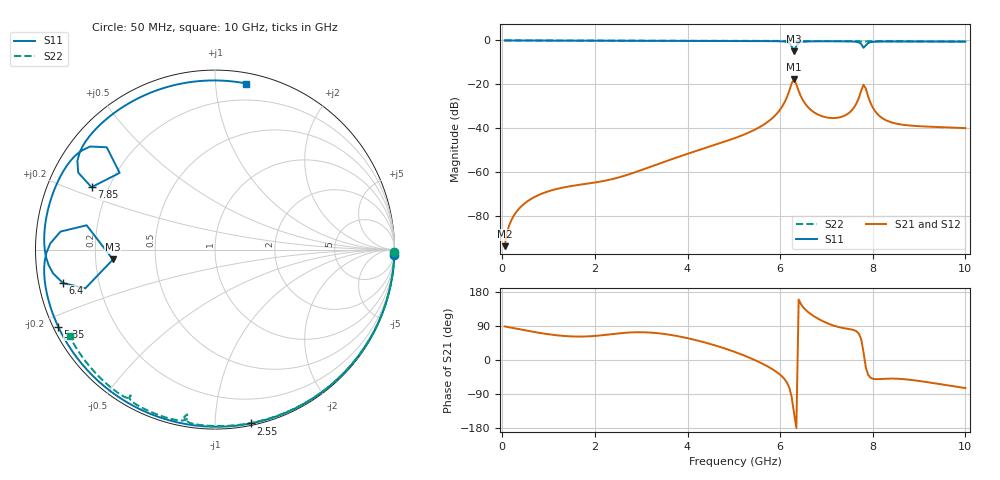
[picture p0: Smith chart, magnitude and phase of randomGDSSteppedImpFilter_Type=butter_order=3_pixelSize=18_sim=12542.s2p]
! freq	dB(S11)	phase(S11)	dB(S12)	phase(S12)
!  dB(S21)	phase(S21)	dB(S22)	phase(S22)
!S-par simulation data
#  GHz  S  DB  R 50
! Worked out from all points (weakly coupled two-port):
!   200 points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, 50 MHz to 10 GHz, reference 50 ohm
!   highest |S21| = -17.68 dB at 6.3 GHz (marker M1); lowest = -93.5 dB at 50 MHz (marker M2)
!   lowest |S11| = -4.9 dB at 6.3 GHz (marker M3), VSWR 3.67, Z = 13.7 - j2.24 ohm
!   |S11| at or under -10 dB: nowhere
!   |S22| runs from -0.6 to 0.0 dB; largest |S21 - S12| = 0
!   S11 on the Smith chart (normalised r, x): 50 MHz: 0, -71; 2.55 GHz: 0.01, -1.23; 5.35 GHz: 0.01, -0.23; 6.4 GHz: 0.07, -0.11; 7.85 GHz: 0.14, +0.23; 10 GHz: 0.07, +1.20
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0.05  -0.00 -1.6  -93.51 88.6  -93.51 88.6  -0.00 -0.9
0.25  -0.01 -8.0  -79.59 83.9  -79.59 83.9  -0.01 -4.3
0.85  -0.03 -27.1  -69.66 70.6  -69.66 70.6  -0.02 -14.6
1.75  -0.07 -54.9  -65.35 61.9  -65.35 61.9  -0.04 -29.8
2.55  -0.10 -78.3  -62.04 70.7  -62.04 70.7  -0.06 -43.0
3.4  -0.13 -102.1  -55.89 70.2  -55.89 70.2  -0.08 -56.7
5.05  -0.21 -145.8  -44.16 20.0  -44.16 20.0  -0.13 -81.9
5.35  -0.23 -153.8  -41.60 5.4  -41.60 5.4  -0.14 -86.3
5.95  -0.34 -171.9  -32.73 -34.0  -32.73 -34.0  -0.17 -95.2
6.15  -0.74 177.8  -25.62 -60.2  -25.62 -60.2  -0.23 -98.6
6.25  -2.76 169.3  -19.40 -98.2  -19.40 -98.2  -0.45 -100.4
6.3  -4.86 -174.5  -17.68 -140.6  -17.68 -140.6  -0.62 -99.6
6.4  -1.23 -167.6  -22.98 159.5  -22.98 159.5  -0.32 -99.8
6.7  -0.41 176.6  -32.19 117.9  -32.19 117.9  -0.22 -104.8
7.4  -0.42 154.2  -34.09 83.5  -34.09 83.5  -0.26 -114.7
7.6  -0.54 146.4  -30.31 78.6  -30.31 78.6  -0.29 -117.7
7.75  -1.62 136.6  -22.84 54.9  -22.84 54.9  -0.42 -120.1
7.8  -3.33 141.2  -20.13 20.7  -20.13 20.7  -0.55 -120.1
7.85  -2.26 153.2  -21.89 -19.8  -21.89 -19.8  -0.46 -119.7
8.05  -0.58 142.1  -32.14 -50.5  -32.14 -50.5  -0.32 -122.9
8.35  -0.49 131.3  -36.86 -49.2  -36.86 -49.2  -0.33 -127.1
10  -0.52 79.3  -39.86 -74.0  -39.86 -74.0  -0.51 -149.3
